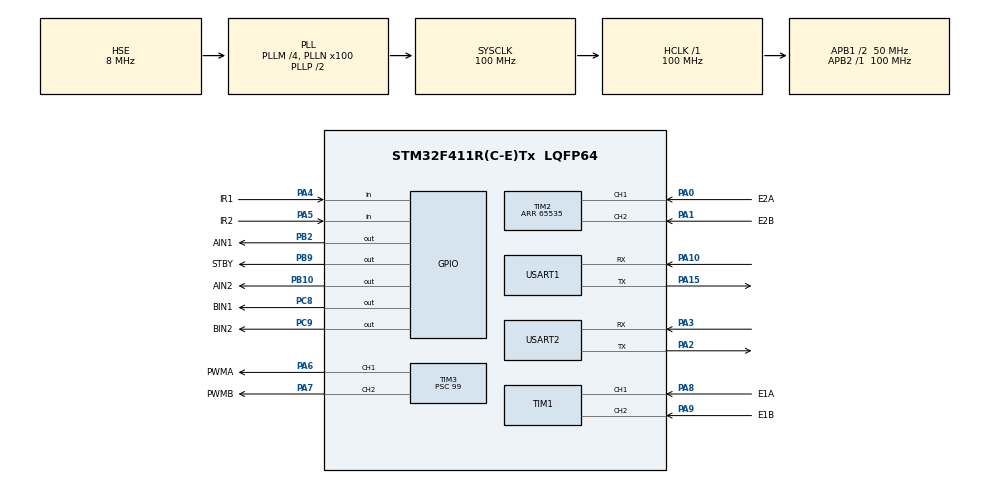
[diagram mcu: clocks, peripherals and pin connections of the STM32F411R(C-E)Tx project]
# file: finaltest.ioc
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FREERTOS.Tasks01=defaultTask,3,128,StartDefaultTask,Default,NULL,Dynamic,NULL,NULL
Mcu.Family=STM32F4
Mcu.Name=STM32F411R(C-E)Tx
Mcu.Package=LQFP64
NVIC.PriorityGroup=NVIC_PRIORITYGROUP_4
NVIC.TIM5_IRQn=true\:15\:0\:false\:false\:true\:false\:false\:true\:true
NVIC.TimeBase=TIM5_IRQn
NVIC.TimeBaseIP=TIM5
NVIC.USART2_IRQn=true\:5\:0\:false\:false\:true\:true\:true\:true\:true
PA0-WKUP.GPIO_Label=E2A
PA0-WKUP.Signal=S_TIM2_CH1_ETR
PA1.GPIO_Label=E2B
PA1.Signal=S_TIM2_CH2
PA10.Mode=Asynchronous
PA10.Signal=USART1_RX
PA13.Mode=Serial_Wire
PA13.Signal=SYS_JTMS-SWDIO
PA14.Mode=Serial_Wire
PA14.Signal=SYS_JTCK-SWCLK
PA15.Mode=Asynchronous
PA15.Signal=USART1_TX
PA2.Mode=Asynchronous
PA2.Signal=USART2_TX
PA3.Mode=Asynchronous
PA3.Signal=USART2_RX
PA4.GPIO_Label=IR1
PA4.Signal=GPIO_Input
PA5.GPIO_Label=IR2
PA5.Signal=GPIO_Input
PA6.GPIO_Label=PWMA
PA6.Signal=S_TIM3_CH1
PA7.GPIO_Label=PWMB
PA7.Signal=S_TIM3_CH2
PA8.GPIO_Label=E1A
PA8.Signal=S_TIM1_CH1
PA9.GPIO_Label=E1B
PA9.Signal=S_TIM1_CH2
PB10.GPIO_Label=AIN2
PB10.Signal=GPIO_Output
PB2.GPIO_Label=AIN1
PB2.Signal=GPIO_Output
PB9.GPIO_Label=STBY
PB9.Signal=GPIO_Output
PC14-OSC32_IN.Mode=LSE-External-Oscillator
PC14-OSC32_IN.Signal=RCC_OSC32_IN
PC15-OSC32_OUT.Mode=LSE-External-Oscillator
PC15-OSC32_OUT.Signal=RCC_OSC32_OUT
PC8.GPIO_Label=BIN1
PC8.Signal=GPIO_Output
PC9.GPIO_Label=BIN2
PC9.Signal=GPIO_Output
PH0\ -\ OSC_IN.Mode=HSE-External-Oscillator
PH0\ -\ OSC_IN.Signal=RCC_OSC_IN
PH1\ -\ OSC_OUT.Mode=HSE-External-Oscillator
PH1\ -\ OSC_OUT.Signal=RCC_OSC_OUT
ProjectManager.HeapSize=0x200
ProjectManager.StackSize=0x400
ProjectManager.TargetToolchain=MDK-ARM V5.32
RCC.48MHZClocksFreq_Value=50000000
RCC.AHBFreq_Value=100000000
RCC.APB1CLKDivider=RCC_HCLK_DIV2
RCC.APB1Freq_Value=50000000
RCC.APB1TimFreq_Value=100000000
RCC.APB2Freq_Value=100000000
RCC.APB2TimFreq_Value=100000000
RCC.CortexFreq_Value=100000000
RCC.HCLKFreq_Value=100000000
RCC.HSE_VALUE=8000000
RCC.HSI_VALUE=16000000
RCC.PLLM=4
RCC.PLLN=100
RCC.PLLSourceVirtual=RCC_PLLSOURCE_HSE
RCC.SYSCLKFreq_VALUE=100000000
RCC.SYSCLKSource=RCC_SYSCLKSOURCE_PLLCLK
RCC.VCOOutputFreq_Value=200000000
SH.S_TIM1_CH1.0=TIM1_CH1,Encoder_Interface
SH.S_TIM1_CH2.0=TIM1_CH2,Encoder_Interface
SH.S_TIM2_CH1_ETR.0=TIM2_CH1,Encoder_Interface
SH.S_TIM2_CH2.0=TIM2_CH2,Encoder_Interface
SH.S_TIM3_CH1.0=TIM3_CH1,PWM Generation1 CH1
SH.S_TIM3_CH2.0=TIM3_CH2,PWM Generation2 CH2
TIM1.EncoderMode=TIM_ENCODERMODE_TI12
TIM2.EncoderMode=TIM_ENCODERMODE_TI12
TIM2.Period=65535
TIM3.Channel-PWM\ Generation1\ CH1=TIM_CHANNEL_1
TIM3.Channel-PWM\ Generation2\ CH2=TIM_CHANNEL_2
TIM3.Period=1000
TIM3.Prescaler=99
TIM4.Period=50-1
TIM4.Prescaler=10000-1
USART1.VirtualMode=VM_ASYNC
USART2.VirtualMode=VM_ASYNC
VP_FREERTOS_VS_CMSIS_V1.Mode=CMSIS_V1
VP_SYS_VS_tim5.Mode=TIM5
VP_TIM4_VS_ClockSourceINT.Mode=Internal
board=custom

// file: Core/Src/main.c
/* USER CODE BEGIN Header */
/**
  ******************************************************************************
  * @file           : main.c
  * @brief          : Main program body
  ******************************************************************************
  * @attention
  *
  * Copyright (c) 2023 STMicroelectronics.
  * All rights reserved.
  *
  * This software is licensed under terms that can be found in the LICENSE file
  * in the root directory of this software component.
  * If no LICENSE file comes with this software, it is provided AS-IS.
  *
  ******************************************************************************
  */
/* USER CODE END Header */
#include "main.h"
#include "cmsis_os.h"
#include "tim.h"
#include "usart.h"
#include "gpio.h"

/* USER CODE BEGIN Includes */
#include "stm32f4xx_it.h"

/* USER CODE END Includes */

void SystemClock_Config(void);
void MX_FREERTOS_Init(void);

int main(void)
{

  /* MCU Configuration--------------------------------------------------------*/

  /* Reset of all peripherals, Initializes the Flash interface and the Systick. */
  HAL_Init();

  /* Configure the system clock */
  SystemClock_Config();

  /* Initialize all configured peripherals */
  MX_GPIO_Init();
  MX_TIM1_Init();
  MX_TIM2_Init();
  MX_TIM3_Init();
  MX_USART1_UART_Init();
  MX_USART2_UART_Init();
  MX_TIM4_Init();
  /* USER CODE BEGIN 2 */
	HAL_GPIO_WritePin(STBY_GPIO_Port,STBY_Pin,GPIO_PIN_SET);
	HAL_TIM_Base_Start(&htim1);
	HAL_TIM_Base_Start(&htim2);
	HAL_TIM_Base_Start(&htim3);
	HAL_TIM_Base_Start_IT(&htim4);
	HAL_TIM_PWM_Start(&htim3,TIM_CHANNEL_1);
	HAL_TIM_PWM_Start(&htim3,TIM_CHANNEL_2);
	HAL_UART_Receive_IT(&huart1,&receiveBt,1);
	HAL_UART_Receive_IT(&huart2,rebuf,11);
  /* USER CODE END 2 */

  /* Call init function for freertos objects (in freertos.c) */
  MX_FREERTOS_Init();

  /* Start scheduler */
  osKernelStart();

  /* We should never get here as control is now taken by the scheduler */
  /* Infinite loop */
  while (1)
  {

  }
}

void SystemClock_Config(void)
{
  RCC_OscInitTypeDef RCC_OscInitStruct = {0};
  RCC_ClkInitTypeDef RCC_ClkInitStruct = {0};

  /** Configure the main internal regulator output voltage
  */
  __HAL_RCC_PWR_CLK_ENABLE();
  __HAL_PWR_VOLTAGESCALING_CONFIG(PWR_REGULATOR_VOLTAGE_SCALE1);

  /** Initializes the RCC Oscillators according to the specified parameters
  * in the RCC_OscInitTypeDef structure.
  */
  RCC_OscInitStruct.OscillatorType = RCC_OSCILLATORTYPE_HSE;
  RCC_OscInitStruct.HSEState = RCC_HSE_ON;
  RCC_OscInitStruct.PLL.PLLState = RCC_PLL_ON;
  RCC_OscInitStruct.PLL.PLLSource = RCC_PLLSOURCE_HSE;
  RCC_OscInitStruct.PLL.PLLM = 4;
  RCC_OscInitStruct.PLL.PLLN = 100;
  RCC_OscInitStruct.PLL.PLLP = RCC_PLLP_DIV2;
  RCC_OscInitStruct.PLL.PLLQ = 4;
  if (HAL_RCC_OscConfig(&RCC_OscInitStruct) != HAL_OK)
  {
    Error_Handler();
  }

  /** Initializes the CPU, AHB and APB buses clocks
  */
  RCC_ClkInitStruct.ClockType = RCC_CLOCKTYPE_HCLK|RCC_CLOCKTYPE_SYSCLK
                              |RCC_CLOCKTYPE_PCLK1|RCC_CLOCKTYPE_PCLK2;
  RCC_ClkInitStruct.SYSCLKSource = RCC_SYSCLKSOURCE_PLLCLK;
  RCC_ClkInitStruct.AHBCLKDivider = RCC_SYSCLK_DIV1;
  RCC_ClkInitStruct.APB1CLKDivider = RCC_HCLK_DIV2;
  RCC_ClkInitStruct.APB2CLKDivider = RCC_HCLK_DIV1;

  if (HAL_RCC_ClockConfig(&RCC_ClkInitStruct, FLASH_LATENCY_3) != HAL_OK)
  {
    Error_Handler();
  }
}

void HAL_TIM_PeriodElapsedCallback(TIM_HandleTypeDef *htim)
{
  if (htim->Instance == TIM5) {
    HAL_IncTick();
  }
}

void Error_Handler(void)
{
  __disable_irq();
  while (1)
  {
  }
}

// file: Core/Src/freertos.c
/* USER CODE BEGIN Header */
/**
  ******************************************************************************
  * File Name          : freertos.c
  * Description        : Code for freertos applications
  ******************************************************************************
  * @attention
  *
  * Copyright (c) 2023 STMicroelectronics.
  * All rights reserved.
  *
  * This software is licensed under terms that can be found in the LICENSE file
  * in the root directory of this software component.
  * If no LICENSE file comes with this software, it is provided AS-IS.
  *
  ******************************************************************************
  */
/* USER CODE END Header */

#include "FreeRTOS.h"
#include "task.h"
#include "main.h"
#include "cmsis_os.h"

/* USER CODE BEGIN Includes */
#include "stm32f4xx_it.h"
#include "MPU6050.h"
#include "PID.h"
#include "math.h"
#include "tim.h"
double right_PWMB=0,left_PWMA=0,PWM,angle_PWM,speed_PWM,turn_PWM;
int mode;
uint8_t rebuf[11];
int right_encoderB,left_encoderA;
int right_encoderB_PN,left_encoderA_PN;
int i=0;
/* USER CODE END Includes */

osThreadId defaultTaskHandle;

void StartDefaultTask(void const * argument);

void MX_FREERTOS_Init(void); /* (MISRA C 2004 rule 8.1) */

/* GetIdleTaskMemory prototype (linked to static allocation support) */
void vApplicationGetIdleTaskMemory( StaticTask_t **ppxIdleTaskTCBBuffer, StackType_t **ppxIdleTaskStackBuffer, uint32_t *pulIdleTaskStackSize );

/* USER CODE BEGIN GET_IDLE_TASK_MEMORY */
static StaticTask_t xIdleTaskTCBBuffer;
static StackType_t xIdleStack[configMINIMAL_STACK_SIZE];

void vApplicationGetIdleTaskMemory( StaticTask_t **ppxIdleTaskTCBBuffer, StackType_t **ppxIdleTaskStackBuffer, uint32_t *pulIdleTaskStackSize )
{
  *ppxIdleTaskTCBBuffer = &xIdleTaskTCBBuffer;
  *ppxIdleTaskStackBuffer = &xIdleStack[0];
  *pulIdleTaskStackSize = configMINIMAL_STACK_SIZE;
  /* place for user code */
}
/* USER CODE END GET_IDLE_TASK_MEMORY */

void MX_FREERTOS_Init(void) {

  /* Create the thread(s) */
  /* definition and creation of defaultTask */
  osThreadDef(defaultTask, StartDefaultTask, osPriorityRealtime, 0, 128);
  defaultTaskHandle = osThreadCreate(osThread(defaultTask), NULL);

}

void StartDefaultTask(void const * argument)
{
  /* USER CODE BEGIN StartDefaultTask */

  /* Infinite loop */
  for(;;)
  {
		MPU6050_Data(rebuf);
		angle_PWM=PID_angle_out(angle[1],w[1]);
		speed_PWM=PID_speed_out(left_encoderA,right_encoderB,0);
		PWM=angle_PWM+speed_PWM;
		if(PWM>=0)
		{
			HAL_GPIO_WritePin(AIN1_GPIO_Port,AIN1_Pin,GPIO_PIN_RESET);
			HAL_GPIO_WritePin(AIN2_GPIO_Port,AIN2_Pin,GPIO_PIN_SET);
			HAL_GPIO_WritePin(BIN1_GPIO_Port,BIN1_Pin,GPIO_PIN_RESET);
			HAL_GPIO_WritePin(BIN2_GPIO_Port,BIN2_Pin,GPIO_PIN_SET);
			if(PWM>1000)
				PWM=1000;
		}
		else
		{
			HAL_GPIO_WritePin(AIN1_GPIO_Port,AIN1_Pin,GPIO_PIN_SET);
			HAL_GPIO_WritePin(AIN2_GPIO_Port,AIN2_Pin,GPIO_PIN_RESET);
			HAL_GPIO_WritePin(BIN1_GPIO_Port,BIN1_Pin,GPIO_PIN_SET);
			HAL_GPIO_WritePin(BIN2_GPIO_Port,BIN2_Pin,GPIO_PIN_RESET);
			if(PWM<-1000)
				PWM=-1000;
		}
		left_PWMA=fabs(PWM);
		right_PWMB=fabs(PWM);
		__HAL_TIM_SET_COMPARE(&htim3,TIM_CHANNEL_1,left_PWMA);
		__HAL_TIM_SET_COMPARE(&htim3,TIM_CHANNEL_2,right_PWMB);
		i++;
		while(i==15)
		{
		right_encoderB=__HAL_TIM_GetCounter(&htim1);
		left_encoderA=__HAL_TIM_GetCounter(&htim2);
		TIM1->CNT=0;
		TIM2->CNT=0;
		i=0;
		}
    osDelay(1);
	}
  /* USER CODE END StartDefaultTask */
}
